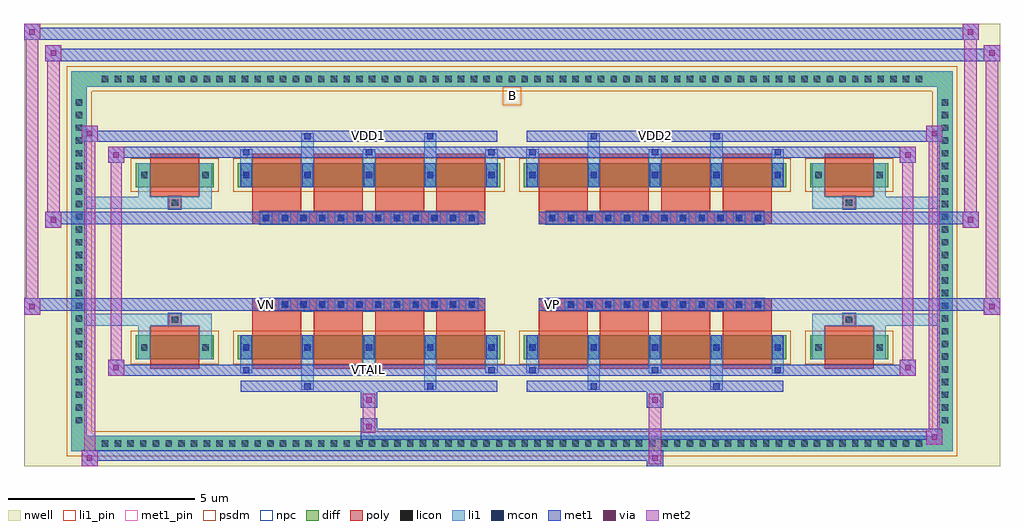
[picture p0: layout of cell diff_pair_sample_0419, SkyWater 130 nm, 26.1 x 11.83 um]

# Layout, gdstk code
import gdstk
lib = gdstk.Library(unit=1e-6, precision=5e-09)
def R(c, l, rs):  # rectangles x0, y0, x1, y1
    for r in rs: c.add(gdstk.rectangle(r[:2], r[2:], *l))
def A(c, l, x, y, w, h, nx, ny, dx, dy):  # array of equal rectangles
    R(c, l, [(x+i*dx, y+j*dy, x+i*dx+w, y+j*dy+h) for i in range(nx) for j in range(ny)])
def P(c, l, *ps):  # polygons
    for p in ps: c.add(gdstk.Polygon(p, *l))
nwell = (64, 20)
diff = (65, 20)
poly = (66, 20)
licon = (66, 44)
li1_pin = (67, 16)
li1 = (67, 20)
mcon = (67, 44)
met1_pin = (68, 16)
met1 = (68, 20)
via = (68, 44)
met2 = (69, 20)
psdm = (94, 20)
npc = (95, 20)

diff_pair_sample_0419 = lib.new_cell('diff_pair_sample_0419')
R(diff_pair_sample_0419, nwell, [(-13.05,-5.48,13.05,6.35), (-10.37,-3.67,-0.01,-0.795), (0.01,-3.67,10.37,-0.795), (-10.37,0.795,-0.01,3.67), (0.01,0.795,10.37,3.67)])
A(diff_pair_sample_0419, diff, -11.085, -5.08, 0.41, 0.41, 65, 2, 0.34, 9.75)
A(diff_pair_sample_0419, diff, -11.78, -4.455, 0.41, 0.41, 1, 26, 0, 0.34)
A(diff_pair_sample_0419, diff, 11.37, -4.455, 0.41, 0.41, 1, 26, 0, 0.34)
R(diff_pair_sample_0419, diff, [(-11.085,-5.08,11.085,-4.67), (-11.78,-4.455,-11.37,4.455), (11.37,-4.455,11.78,4.455), (-10.06,-2.625,-7.97,-1.985), (-7.33,-2.625,-0.32,-1.985), (0.32,-2.625,7.33,-1.985), (7.97,-2.625,10.06,-1.985), (-10.06,1.985,-7.97,2.625), (-7.33,1.985,-0.32,2.625), (0.32,1.985,7.33,2.625), (7.97,1.985,10.06,2.625), (-11.085,4.67,11.085,5.08)])
P(diff_pair_sample_0419, diff, [(11.78,5.08),(-11.78,5.08),(-11.78,-4.67),(-11.37,-4.67),(-11.37,4.67),(11.37,4.67),(11.37,-4.67),(-11.37,-4.67),(-11.78,-4.67),(-11.78,-5.08),(11.78,-5.08)])
A(diff_pair_sample_0419, poly, -6.94, -2.88, 1.31, 1.15, 4, 2, 1.64, 4.61)
A(diff_pair_sample_0419, poly, 0.71, -2.88, 1.31, 1.15, 4, 2, 1.64, 4.61)
A(diff_pair_sample_0419, poly, -6.94, -1.73, 1.31, 0.405, 4, 2, 1.64, 3.055)
A(diff_pair_sample_0419, poly, 0.71, -1.73, 1.31, 0.405, 4, 2, 1.64, 3.055)
A(diff_pair_sample_0419, poly, -6.74, -1.325, 0.33, 0.33, 12, 2, 0.5, 2.32)
A(diff_pair_sample_0419, poly, 0.91, -1.325, 0.33, 0.33, 12, 2, 0.5, 2.32)
R(diff_pair_sample_0419, poly, [(-9.67,-2.88,-8.36,-1.73), (8.36,-2.88,9.67,-1.73), (-9.18,-1.73,-8.85,-1.4), (-9.18,-1.73,-8.85,-1.4), (8.85,-1.73,9.18,-1.4), (8.85,-1.73,9.18,-1.4), (-6.94,-1.325,-0.71,-0.995), (0.71,-1.325,6.94,-0.995), (-6.94,0.995,-0.71,1.325), (0.71,0.995,6.94,1.325), (-9.18,1.4,-8.85,1.73), (-9.18,1.4,-8.85,1.73), (8.85,1.4,9.18,1.73), (8.85,1.4,9.18,1.73), (-9.67,1.73,-8.36,2.88), (8.36,1.73,9.67,2.88)])
A(diff_pair_sample_0419, licon, -10.965, -4.96, 0.17, 0.17, 65, 2, 0.34, 9.75)
A(diff_pair_sample_0419, licon, -11.66, -4.335, 0.17, 0.17, 1, 26, 0, 0.34)
A(diff_pair_sample_0419, licon, 11.49, -4.335, 0.17, 0.17, 1, 26, 0, 0.34)
A(diff_pair_sample_0419, licon, -7.19, -2.39, 0.17, 0.17, 5, 2, 1.64, 4.61)
A(diff_pair_sample_0419, licon, 0.46, -2.39, 0.17, 0.17, 5, 2, 1.64, 4.61)
A(diff_pair_sample_0419, licon, -6.66, -1.245, 0.17, 0.17, 12, 2, 0.5, 2.32)
A(diff_pair_sample_0419, licon, 0.99, -1.245, 0.17, 0.17, 12, 2, 0.5, 2.32)
R(diff_pair_sample_0419, licon, [(-9.92,-2.39,-9.75,-2.22), (-8.28,-2.39,-8.11,-2.22), (8.11,-2.39,8.28,-2.22), (9.75,-2.39,9.92,-2.22), (-9.1,-1.65,-8.93,-1.48), (8.93,-1.65,9.1,-1.48), (-9.1,1.48,-8.93,1.65), (8.93,1.48,9.1,1.65), (-9.92,2.22,-9.75,2.39), (-8.28,2.22,-8.11,2.39), (8.11,2.22,8.28,2.39), (9.75,2.22,9.92,2.39)])
R(diff_pair_sample_0419, li1_pin, [(-0.25,4.17,0.25,4.67)])
A(diff_pair_sample_0419, li1, -11.045, -5.04, 0.33, 0.33, 65, 2, 0.34, 9.75)
A(diff_pair_sample_0419, li1, -11.74, -4.415, 0.33, 0.33, 1, 26, 0, 0.34)
A(diff_pair_sample_0419, li1, 11.41, -4.415, 0.33, 0.33, 1, 26, 0, 0.34)
A(diff_pair_sample_0419, li1, -7.27, -3, 0.33, 0.375, 3, 2, 3.28, 5.625)
A(diff_pair_sample_0419, li1, -7.19, -3, 0.17, 0.17, 3, 2, 3.28, 5.83)
A(diff_pair_sample_0419, li1, 0.38, -3, 0.33, 0.375, 3, 2, 3.28, 5.625)
A(diff_pair_sample_0419, li1, 0.46, -3, 0.17, 0.17, 3, 2, 3.28, 5.83)
A(diff_pair_sample_0419, li1, -7.27, -2.625, 0.33, 0.64, 5, 2, 1.64, 4.61)
A(diff_pair_sample_0419, li1, 0.38, -2.625, 0.33, 0.64, 5, 2, 1.64, 4.61)
A(diff_pair_sample_0419, li1, -7.27, -2.47, 0.33, 0.33, 5, 2, 1.64, 4.61)
A(diff_pair_sample_0419, li1, 0.38, -2.47, 0.33, 0.33, 5, 2, 1.64, 4.61)
A(diff_pair_sample_0419, li1, -6.74, -1.325, 0.33, 0.33, 12, 2, 0.5, 2.32)
A(diff_pair_sample_0419, li1, 0.91, -1.325, 0.33, 0.33, 12, 2, 0.5, 2.32)
R(diff_pair_sample_0419, li1, [(-11.78,-5.08,-11.37,-4.67), (-11.78,-5.08,-11.37,-4.67), (-11.37,-5.08,11.37,-4.67), (11.37,-5.08,11.78,-4.67), (11.37,-5.08,11.78,-4.67), (-11.78,-4.67,-11.37,4.67), (11.37,-4.67,11.78,4.67), (-5.63,-3.43,-5.3,-2.625), (-5.55,-3.43,-5.38,-3.26), (-2.35,-3.43,-2.02,-2.625), (-2.27,-3.43,-2.1,-3.26), (2.02,-3.43,2.35,-2.625), (2.1,-3.43,2.27,-3.26), (5.3,-3.43,5.63,-2.625), (5.38,-3.43,5.55,-3.26), (-10,-2.625,-9.67,-1.985), (-8.36,-2.625,-8.03,-1.985), (8.03,-2.625,8.36,-1.985), (9.67,-2.625,10,-1.985), (-10,-2.47,-9.67,-2.14), (-8.36,-2.47,-8.03,-2.14), (8.03,-2.47,8.36,-2.14), (9.67,-2.47,10,-2.14), (-7.19,-2.39,-7.02,-2.22), (-7.19,-2.39,-7.02,-2.22), (-5.55,-2.39,-5.38,-2.22), (-5.55,-2.39,-5.38,-2.22), (-3.91,-2.39,-3.74,-2.22), (-3.91,-2.39,-3.74,-2.22), (-2.27,-2.39,-2.1,-2.22), (-2.27,-2.39,-2.1,-2.22), (-0.63,-2.39,-0.46,-2.22), (-0.63,-2.39,-0.46,-2.22), (0.46,-2.39,0.63,-2.22), (0.46,-2.39,0.63,-2.22), (2.1,-2.39,2.27,-2.22), (2.1,-2.39,2.27,-2.22), (3.74,-2.39,3.91,-2.22), (3.74,-2.39,3.91,-2.22), (5.38,-2.39,5.55,-2.22), (5.38,-2.39,5.55,-2.22), (7.02,-2.39,7.19,-2.22), (7.02,-2.39,7.19,-2.22), (-10,-1.985,-9.67,-1.4), (-8.36,-1.985,-8.03,-1.4), (8.03,-1.985,8.36,-1.4), (9.67,-1.985,10,-1.4), (-11.78,-1.73,-9.18,-1.4), (-10,-1.73,-9.18,-1.4), (-9.18,-1.73,-8.85,-1.4), (-8.85,-1.73,-8.03,-1.4), (8.03,-1.73,8.85,-1.4), (8.85,-1.73,9.18,-1.4), (8.85,-1.73,11.78,-1.4), (9.18,-1.73,10,-1.4), (-11.78,1.4,-9.18,1.73), (-10,1.4,-9.18,1.73), (-10,1.4,-9.67,1.985), (-9.18,1.4,-8.85,1.73), (-8.85,1.4,-8.03,1.73), (-8.36,1.4,-8.03,1.985), (8.03,1.4,8.85,1.73), (8.03,1.4,8.36,1.985), (8.85,1.4,9.18,1.73), (8.85,1.4,11.78,1.73), (9.18,1.4,10,1.73), (9.67,1.4,10,1.985), (-10,1.985,-9.67,2.625), (-8.36,1.985,-8.03,2.625), (8.03,1.985,8.36,2.625), (9.67,1.985,10,2.625), (-10,2.14,-9.67,2.47), (-8.36,2.14,-8.03,2.47), (8.03,2.14,8.36,2.47), (9.67,2.14,10,2.47), (-7.19,2.22,-7.02,2.39), (-7.19,2.22,-7.02,2.39), (-5.55,2.22,-5.38,2.39), (-5.55,2.22,-5.38,2.39), (-3.91,2.22,-3.74,2.39), (-3.91,2.22,-3.74,2.39), (-2.27,2.22,-2.1,2.39), (-2.27,2.22,-2.1,2.39), (-0.63,2.22,-0.46,2.39), (-0.63,2.22,-0.46,2.39), (0.46,2.22,0.63,2.39), (0.46,2.22,0.63,2.39), (2.1,2.22,2.27,2.39), (2.1,2.22,2.27,2.39), (3.74,2.22,3.91,2.39), (3.74,2.22,3.91,2.39), (5.38,2.22,5.55,2.39), (5.38,2.22,5.55,2.39), (7.02,2.22,7.19,2.39), (7.02,2.22,7.19,2.39), (-5.63,2.625,-5.3,3.43), (-2.35,2.625,-2.02,3.43), (2.02,2.625,2.35,3.43), (5.3,2.625,5.63,3.43), (-5.55,3.26,-5.38,3.43), (-2.27,3.26,-2.1,3.43), (2.1,3.26,2.27,3.43), (5.38,3.26,5.55,3.43), (-11.78,4.67,-11.37,5.08), (-11.78,4.67,-11.37,5.08), (-11.37,4.67,11.37,5.08), (11.37,4.67,11.78,5.08), (11.37,4.67,11.78,5.08)])
A(diff_pair_sample_0419, mcon, -7.19, -3, 0.17, 0.17, 3, 2, 3.28, 5.83)
A(diff_pair_sample_0419, mcon, 0.46, -3, 0.17, 0.17, 3, 2, 3.28, 5.83)
A(diff_pair_sample_0419, mcon, -7.19, -2.39, 0.17, 0.17, 5, 2, 1.64, 4.61)
A(diff_pair_sample_0419, mcon, 0.46, -2.39, 0.17, 0.17, 5, 2, 1.64, 4.61)
A(diff_pair_sample_0419, mcon, -6.66, -1.245, 0.17, 0.17, 12, 2, 0.5, 2.32)
A(diff_pair_sample_0419, mcon, 0.99, -1.245, 0.17, 0.17, 12, 2, 0.5, 2.32)
R(diff_pair_sample_0419, mcon, [(-5.55,-3.43,-5.38,-3.26), (-2.27,-3.43,-2.1,-3.26), (2.1,-3.43,2.27,-3.26), (5.38,-3.43,5.55,-3.26), (-5.55,3.26,-5.38,3.43), (-2.27,3.26,-2.1,3.43), (2.1,3.26,2.27,3.43), (5.38,3.26,5.55,3.43)])
R(diff_pair_sample_0419, met1_pin, [(-3.96,-3.04,-3.69,-2.77), (-6.71,-1.285,-6.44,-1.015), (0.94,-1.285,1.21,-1.015), (-3.96,3.22,-3.69,3.49), (3.69,3.22,3.96,3.49)])
A(diff_pair_sample_0419, met1, -7.25, -3.06, 0.29, 0.29, 3, 2, 3.28, 5.83)
A(diff_pair_sample_0419, met1, 0.4, -3.06, 0.29, 0.29, 3, 2, 3.28, 5.83)
A(diff_pair_sample_0419, met1, -7.25, -2.625, 0.29, 0.64, 5, 2, 1.64, 4.61)
A(diff_pair_sample_0419, met1, 0.4, -2.625, 0.29, 0.64, 5, 2, 1.64, 4.61)
A(diff_pair_sample_0419, met1, -7.25, -2.45, 0.29, 0.29, 5, 2, 1.64, 4.61)
A(diff_pair_sample_0419, met1, 0.4, -2.45, 0.29, 0.29, 5, 2, 1.64, 4.61)
A(diff_pair_sample_0419, met1, -6.72, -1.305, 0.29, 0.29, 12, 2, 0.5, 2.32)
A(diff_pair_sample_0419, met1, 0.93, -1.305, 0.29, 0.29, 12, 2, 0.5, 2.32)
R(diff_pair_sample_0419, met1, [(-11.51,-5.48,-11.08,-5.05), (3.61,-5.48,4.04,-5.05), (-11.51,-5.34,4.04,-5.05), (11.08,-4.91,11.51,-4.48), (-4.04,-4.77,11.51,-4.48), (-4.04,-4.63,-3.61,-4.2), (-4.04,-3.92,-3.61,-3.49), (3.61,-3.92,4.04,-3.49), (-7.25,-3.49,-0.4,-3.2), (-5.61,-3.49,-5.32,-3.2), (-2.33,-3.49,-2.04,-3.2), (0.4,-3.49,7.25,-3.2), (2.04,-3.49,2.33,-3.2), (5.32,-3.49,5.61,-3.2), (-10.8,-3.06,-10.37,-2.63), (-10.8,-3.06,-7.25,-2.77), (-7.25,-3.06,-0.4,-2.77), (-0.4,-3.06,0.4,-2.77), (0.4,-3.06,7.25,-2.77), (7.25,-3.06,10.8,-2.77), (10.37,-3.06,10.8,-2.63), (-13.05,-1.425,-12.62,-0.995), (12.62,-1.425,13.05,-0.995), (-13.05,-1.325,-0.71,-0.995), (-6.94,-1.325,-0.71,-0.995), (0.71,-1.325,6.94,-0.995), (0.71,-1.325,13.05,-0.995), (-12.48,0.895,-12.05,1.325), (12.05,0.895,12.48,1.325), (-12.48,0.995,-6.94,1.325), (-6.94,0.995,-0.71,1.325), (0.71,0.995,6.94,1.325), (6.94,0.995,12.48,1.325), (-10.8,2.63,-10.37,3.06), (10.37,2.63,10.8,3.06), (-10.8,2.77,-7.25,3.06), (-7.25,2.77,-0.4,3.06), (-0.4,2.77,0.4,3.06), (0.4,2.77,7.25,3.06), (7.25,2.77,10.8,3.06), (-11.51,3.2,-11.08,3.63), (-11.51,3.2,-7.25,3.49), (-7.25,3.2,-0.4,3.49), (-5.61,3.2,-5.32,3.49), (-2.33,3.2,-2.04,3.49), (0.4,3.2,7.25,3.49), (2.04,3.2,2.33,3.49), (5.32,3.2,5.61,3.49), (7.25,3.2,11.51,3.49), (11.08,3.2,11.51,3.63), (-12.48,5.35,-12.05,5.78), (-12.48,5.35,-10.37,5.68), (-10.37,5.35,10.37,5.68), (10.37,5.35,13.05,5.68), (12.62,5.35,13.05,5.78), (-13.05,5.92,-12.62,6.35), (-13.05,5.92,-10.37,6.25), (-10.37,5.92,10.37,6.25), (10.37,5.92,12.48,6.25), (12.05,5.92,12.48,6.35)])
R(diff_pair_sample_0419, via, [(-11.37,-5.34,-11.22,-5.19), (3.75,-5.34,3.9,-5.19), (11.22,-4.77,11.37,-4.62), (-3.9,-4.49,-3.75,-4.34), (-3.9,-3.78,-3.75,-3.63), (3.75,-3.78,3.9,-3.63), (-10.66,-2.92,-10.51,-2.77), (10.51,-2.92,10.66,-2.77), (-12.91,-1.285,-12.76,-1.135), (12.76,-1.285,12.91,-1.135), (-12.34,1.035,-12.19,1.185), (12.19,1.035,12.34,1.185), (-10.66,2.77,-10.51,2.92), (10.51,2.77,10.66,2.92), (-11.37,3.34,-11.22,3.49), (11.22,3.34,11.37,3.49), (-12.34,5.49,-12.19,5.64), (12.76,5.49,12.91,5.64), (-12.91,6.06,-12.76,6.21), (12.19,6.06,12.34,6.21)])
R(diff_pair_sample_0419, met2, [(-11.51,-5.48,-11.08,-5.05), (-11.44,-5.48,-11.15,3.63), (-11.15,-5.48,-11.08,-5.05), (-11.46,-5.43,-11.13,-5.1), (3.66,-5.43,3.99,-5.1), (3.66,-5.1,3.99,-3.87), (11.08,-4.91,11.51,-4.48), (11.15,-4.91,11.44,3.63), (11.44,-4.91,11.51,-4.48), (11.13,-4.86,11.46,-4.53), (-3.99,-4.58,-3.66,-4.25), (-3.99,-4.25,-3.66,-3.87), (-3.99,-3.87,-3.66,-3.54), (3.66,-3.87,3.99,-3.54), (-10.8,-3.06,-10.37,-2.63), (-10.73,-3.06,-10.44,3.06), (-10.44,-3.06,-10.37,-2.63), (10.37,-3.06,10.8,-2.63), (10.44,-3.06,10.73,3.06), (10.73,-3.06,10.8,-2.63), (-10.75,-3.01,-10.42,-2.68), (10.42,-3.01,10.75,-2.68), (-13.05,-1.425,-12.62,-0.995), (-13,-1.425,-12.67,6.35), (-12.67,-1.425,-12.62,-0.995), (12.62,-1.425,13.05,-0.995), (12.67,-1.425,13,5.78), (13,-1.425,13.05,-0.995), (-13,-1.375,-12.67,-1.045), (12.67,-1.375,13,-1.045), (-12.48,0.895,-12.05,1.325), (-12.43,0.895,-12.1,5.78), (-12.1,0.895,-12.05,1.325), (12.05,0.895,12.48,1.325), (12.1,0.895,12.43,6.35), (12.43,0.895,12.48,1.325), (-12.43,0.945,-12.1,1.275), (12.1,0.945,12.43,1.275), (-10.8,2.63,-10.37,3.06), (-10.44,2.63,-10.37,3.06), (10.37,2.63,10.8,3.06), (10.73,2.63,10.8,3.06), (-10.75,2.68,-10.42,3.01), (10.42,2.68,10.75,3.01), (-11.51,3.2,-11.08,3.63), (-11.15,3.2,-11.08,3.63), (11.08,3.2,11.51,3.63), (11.44,3.2,11.51,3.63), (-11.46,3.25,-11.13,3.58), (11.13,3.25,11.46,3.58), (-12.48,5.35,-12.05,5.78), (-12.1,5.35,-12.05,5.78), (12.62,5.35,13.05,5.78), (13,5.35,13.05,5.78), (-12.43,5.4,-12.1,5.73), (12.67,5.4,13,5.73), (-13.05,5.92,-12.62,6.35), (-12.67,5.92,-12.62,6.35), (12.05,5.92,12.48,6.35), (12.43,5.92,12.48,6.35), (-13,5.97,-12.67,6.3), (12.1,5.97,12.43,6.3)])
R(diff_pair_sample_0419, psdm, [(-10.19,-2.755,-7.84,-1.855), (-7.46,-2.755,-0.19,-1.855), (0.19,-2.755,7.46,-1.855), (7.84,-2.755,10.19,-1.855), (-10.19,1.855,-7.84,2.755), (-7.46,1.855,-0.19,2.755), (0.19,1.855,7.46,2.755), (7.84,1.855,10.19,2.755)])
P(diff_pair_sample_0419, psdm, [(11.91,5.21),(-11.91,5.21),(-11.91,-4.54),(-11.24,-4.54),(-11.24,4.54),(11.24,4.54),(11.24,-4.54),(-11.24,-4.54),(-11.91,-4.54),(-11.91,-5.21),(11.91,-5.21)])
A(diff_pair_sample_0419, npc, -6.76, -1.345, 0.37, 0.37, 12, 2, 0.5, 2.32)
A(diff_pair_sample_0419, npc, 0.89, -1.345, 0.37, 0.37, 12, 2, 0.5, 2.32)
R(diff_pair_sample_0419, npc, [(-9.2,-1.75,-8.83,-1.38), (8.83,-1.75,9.2,-1.38), (-6.76,-1.345,-5.89,-0.975), (-6.76,-1.345,-5.89,-0.975), (-6.26,-1.345,-5.39,-0.975), (-6.26,-1.345,-5.39,-0.975), (-5.76,-1.345,-4.89,-0.975), (-5.76,-1.345,-4.89,-0.975), (-5.26,-1.345,-4.39,-0.975), (-5.26,-1.345,-4.39,-0.975), (-4.76,-1.345,-3.89,-0.975), (-4.76,-1.345,-3.89,-0.975), (-4.26,-1.345,-3.39,-0.975), (-4.26,-1.345,-3.39,-0.975), (-3.76,-1.345,-2.89,-0.975), (-3.76,-1.345,-2.89,-0.975), (-3.26,-1.345,-2.39,-0.975), (-3.26,-1.345,-2.39,-0.975), (-2.76,-1.345,-1.89,-0.975), (-2.76,-1.345,-1.89,-0.975), (-2.26,-1.345,-1.39,-0.975), (-2.26,-1.345,-1.39,-0.975), (-1.76,-1.345,-0.89,-0.975), (-1.76,-1.345,-0.89,-0.975), (0.89,-1.345,1.76,-0.975), (0.89,-1.345,1.76,-0.975), (1.39,-1.345,2.26,-0.975), (1.39,-1.345,2.26,-0.975), (1.89,-1.345,2.76,-0.975), (1.89,-1.345,2.76,-0.975), (2.39,-1.345,3.26,-0.975), (2.39,-1.345,3.26,-0.975), (2.89,-1.345,3.76,-0.975), (2.89,-1.345,3.76,-0.975), (3.39,-1.345,4.26,-0.975), (3.39,-1.345,4.26,-0.975), (3.89,-1.345,4.76,-0.975), (3.89,-1.345,4.76,-0.975), (4.39,-1.345,5.26,-0.975), (4.39,-1.345,5.26,-0.975), (4.89,-1.345,5.76,-0.975), (4.89,-1.345,5.76,-0.975), (5.39,-1.345,6.26,-0.975), (5.39,-1.345,6.26,-0.975), (5.89,-1.345,6.76,-0.975), (5.89,-1.345,6.76,-0.975), (-6.76,0.975,-5.89,1.345), (-6.76,0.975,-5.89,1.345), (-6.26,0.975,-5.39,1.345), (-6.26,0.975,-5.39,1.345), (-5.76,0.975,-4.89,1.345), (-5.76,0.975,-4.89,1.345), (-5.26,0.975,-4.39,1.345), (-5.26,0.975,-4.39,1.345), (-4.76,0.975,-3.89,1.345), (-4.76,0.975,-3.89,1.345), (-4.26,0.975,-3.39,1.345), (-4.26,0.975,-3.39,1.345), (-3.76,0.975,-2.89,1.345), (-3.76,0.975,-2.89,1.345), (-3.26,0.975,-2.39,1.345), (-3.26,0.975,-2.39,1.345), (-2.76,0.975,-1.89,1.345), (-2.76,0.975,-1.89,1.345), (-2.26,0.975,-1.39,1.345), (-2.26,0.975,-1.39,1.345), (-1.76,0.975,-0.89,1.345), (-1.76,0.975,-0.89,1.345), (0.89,0.975,1.76,1.345), (0.89,0.975,1.76,1.345), (1.39,0.975,2.26,1.345), (1.39,0.975,2.26,1.345), (1.89,0.975,2.76,1.345), (1.89,0.975,2.76,1.345), (2.39,0.975,3.26,1.345), (2.39,0.975,3.26,1.345), (2.89,0.975,3.76,1.345), (2.89,0.975,3.76,1.345), (3.39,0.975,4.26,1.345), (3.39,0.975,4.26,1.345), (3.89,0.975,4.76,1.345), (3.89,0.975,4.76,1.345), (4.39,0.975,5.26,1.345), (4.39,0.975,5.26,1.345), (4.89,0.975,5.76,1.345), (4.89,0.975,5.76,1.345), (5.39,0.975,6.26,1.345), (5.39,0.975,6.26,1.345), (5.89,0.975,6.76,1.345), (5.89,0.975,6.76,1.345), (-9.2,1.38,-8.83,1.75), (8.83,1.38,9.2,1.75)])
diff_pair_sample_0419.add(gdstk.Label('VTAIL', (-3.825,-2.905), layer=68, texttype=5))
diff_pair_sample_0419.add(gdstk.Label('VN', (-6.575,-1.15), layer=68, texttype=5))
diff_pair_sample_0419.add(gdstk.Label('VP', (1.075,-1.15), layer=68, texttype=5))
diff_pair_sample_0419.add(gdstk.Label('B', (0,4.42), layer=67, texttype=5))
diff_pair_sample_0419.add(gdstk.Label('VDD2', (3.825,3.355), layer=68, texttype=5))
diff_pair_sample_0419.add(gdstk.Label('VDD1', (-3.825,3.355), layer=68, texttype=5))

lib.write_gds('diff_pair_sample_0419.gds')
